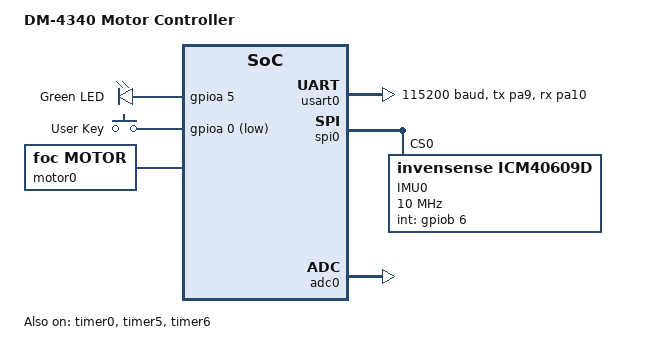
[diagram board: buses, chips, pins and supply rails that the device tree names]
/dts-v1/;

#include <arm/gd/gd32f50x.dtsi>
#include <dt-bindings/gpio/gpio.h>
#include <dt-bindings/pinctrl/gd32-pinctrl.h>

/ {
    compatible = "gd,gd32f503";
    model = "DM-4340 Motor Controller";

    chosen {
        zephyr,console = &usart0;
        zephyr,shell-uart = &usart0;
        zephyr,flash = &flash0;
        zephyr,flash-partition = &slot0_partition;
    };

    pinctrl: pinctrl {
        compatible = "gd,gd32-pinctrl";

        usart0_tx_pa9: usart0_tx_pa9 {
            pinmux = <GD32_PINMUX_AF(GD32_PORT_A, 9, 7,
                                      GD32_PULL_NONE,
                                      GD32_DRIVE_PUSH_PULL, 3)>;
        };

        usart0_rx_pa10: usart0_rx_pa10 {
            pinmux = <GD32_PINMUX_AF(GD32_PORT_A, 10, 7,
                                      GD32_PULL_UP,
                                      GD32_DRIVE_PUSH_PULL, 3)>;
        };

        green_led_pa5: green_led_pa5 {
            pinmux = <GD32_PINMUX_OUTPUT_LOW(GD32_PORT_A, 5,
                                             GD32_PULL_NONE,
                                             GD32_DRIVE_PUSH_PULL, 2)>;
        };

        user_key_pa0: user_key_pa0 {
            pinmux = <GD32_PINMUX_INPUT(GD32_PORT_A, 0,
                                        GD32_PULL_UP, 0)>;
        };
    };

    flash0: flash@8000000 {
        compatible = "soc-nv-flash";
        reg = <0x08000000 0x60000>;  /* 384KB */
        erase-block-size = <2048>;    /* 2KB sector */
        write-block-size = <4>;

        partitions {
            compatible = "fixed-partitions";
            #address-cells = <1>;
            #size-cells = <1>;

            slot0_partition: partition@8000 {
                label = "slot0";
                reg = <0x8000 0x28000>;  /* 160KB */
            };
            upgrade_partition: partition@30000 {
                label = "upgrade";
                reg = <0x30000 0x28000>;  /* 160KB */
            };
            storage_partition: partition@58000 {
                label = "storage";
                reg = <0x58000 0x8000>;   /* 32KB */
            };
        };
    };

    aliases {
        led0 = &green_led;
        key0 = &user_key;
        uart0 = &usart0;
        spi0 = &spi0;
        pwm0 = &timer0;
        tim5 = &timer5;
        tim6 = &timer6;
        adc0 = &adc0;
        motor0 = &motor0;
        imu0 = &imu0;
    };

    leds {
        compatible = "gpio-leds";
        green_led: green_led {
            gpios = <&gpioa 5 0>;
            pinctrl-0 = <&green_led_pa5>;
            pinctrl-names = "default";
            label = "Green LED";
        };
    };

    keys {
        compatible = "gpio-keys";
        user_key: user_key {
            gpios = <&gpioa 0 (GPIO_ACTIVE_LOW | GPIO_PULL_UP)>;
            pinctrl-0 = <&user_key_pa0>;
            pinctrl-names = "default";
            label = "User Key";
        };
    };

    soc {
        usart0: usart@40013800 {
            compatible = "gd,gd32-usart";
            reg = <0x40013800 0x400>;
            interrupts = <37 0>;
            status = "okay";
            current-speed = <115200>;
            pinctrl-0 = <&usart0_tx_pa9 &usart0_rx_pa10>;
            pinctrl-names = "default";
            label = "USART0";
        };

        spi0: spi@40013000 {
            compatible = "gd,gd32-spi";
            reg = <0x40013000 0x400>;
            interrupts = <35 0>;
            status = "okay";
            spi-max-frequency = <10000000>;
            label = "SPI0";
            #address-cells = <1>;
            #size-cells = <0>;

            imu0: icm40609d@0 {
                compatible = "invensense,icm40609d";
                reg = <0>;
                spi-max-frequency = <10000000>;
                accel-fs = <0>;
                gyro-fs = <0>;
                sample-rate = <16000>;
                int-gpios = <&gpiob 6 0>;
                label = "IMU0";
            };
        };

        dma0: dma@40020000 {
            compatible = "gd,gd32-dma";
            reg = <0x40020000 0x400>;
            interrupts = <11 0>, <12 0>, <13 0>, <14 0>, <15 0>, <16 0>, <17 0>;
            label = "DMA0";
            dma-channels = <7>;
            mux-channels = <7>;
            #dma-cells = <2>;
        };

        dma1: dma@40020400 {
            compatible = "gd,gd32-dma";
            reg = <0x40020400 0x400>;
            interrupts = <56 0>, <57 0>, <58 0>, <59 0>, <68 0>, <69 0>, <70 0>;
            label = "DMA1";
            dma-channels = <7>;
            mux-channels = <5>;
            #dma-cells = <2>;
        };

        gpioa: gpio@40010800 {
            compatible = "gd,gd32-gpio";
            reg = <0x40010800 0x400>;
            interrupts = <0 0>;
            label = "GPIOA";
            gpio-controller;
            #gpio-cells = <2>;
            ngpios = <16>;
        };

        gpiob: gpio@40010C00 {
            compatible = "gd,gd32-gpio";
            reg = <0x40010C00 0x400>;
            interrupts = <1 0>;
            label = "GPIOB";
            gpio-controller;
            #gpio-cells = <2>;
            ngpios = <16>;
        };

        timer0: pwm@40012C00 {
            compatible = "gd,gd32-timer";
            reg = <0x40012C00 0x400>;
            interrupts = <25 0>;
            status = "okay";
            label = "TIMER0";
            channel = <0>;
            #pwm-cells = <3>;
        };

        timer5: timer@40001000 {
            compatible = "gd,gd32-timer";
            reg = <0x40001000 0x400>;
            interrupts = <54 0>;
            status = "okay";
            label = "TIMER5";
            channel = <0>;
            prescaler = <119>;   /* 120MHz / 120 = 1MHz */
            period = <249>;      /* 1MHz / 250 = 4kHz */
            #pwm-cells = <3>;
        };

        timer6: timer@40001400 {
            compatible = "gd,gd32-timer";
            reg = <0x40001400 0x400>;
            interrupts = <55 0>;
            status = "okay";
            label = "TIMER6";
            channel = <0>;
            prescaler = <119>;   /* 120MHz / 120 = 1MHz */
            period = <62>;       /* 1MHz / 63 ≈ 15.87kHz ≈ 16kHz */
            #pwm-cells = <3>;
        };

        adc0: adc@40022800 {
            compatible = "gd,gd32-adc";
            reg = <0x40022800 0x400>;
            interrupts = <18 0>;
            status = "okay";
            label = "ADC0";
            #io-channel-cells = <1>;
        };

        motor0: motor {
            compatible = "foc,motor";
            status = "okay";
            pwm-dev = <&timer0>;
            adc-dev = <&adc0>;
            pwm-ch-u = <0>;
            pwm-ch-v = <1>;
            pwm-ch-w = <2>;
            rs-milliohm = <50>;
            ld-microhenry = <100>;
            lq-microhenry = <100>;
            flux-milliweber = <0>;
            pole-pairs = <14>;
            max-current-ma = <20000>;
            max-voltage-mv = <48000>;
            pwm-frequency = <20000>;
            current-bandwidth = <1000>;
            sensor-mode = <0>;
            control-mode = <1>;
        };
    };
};
